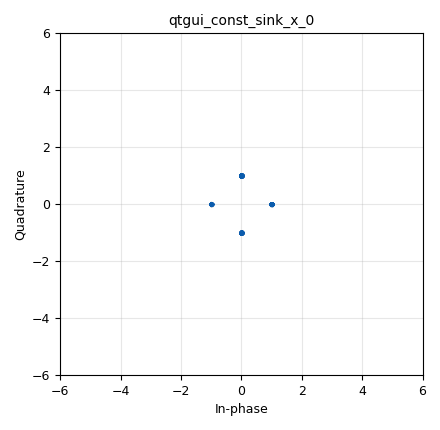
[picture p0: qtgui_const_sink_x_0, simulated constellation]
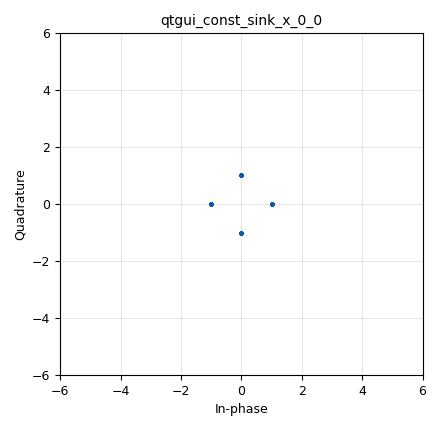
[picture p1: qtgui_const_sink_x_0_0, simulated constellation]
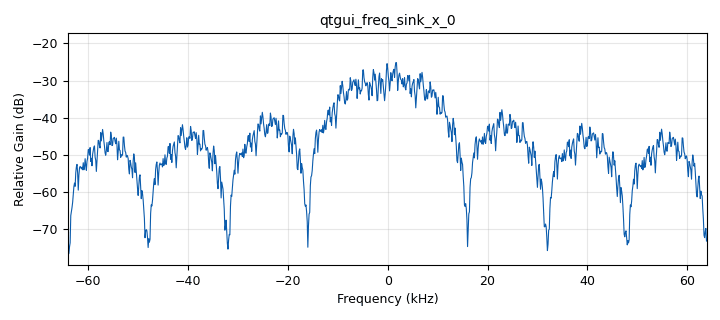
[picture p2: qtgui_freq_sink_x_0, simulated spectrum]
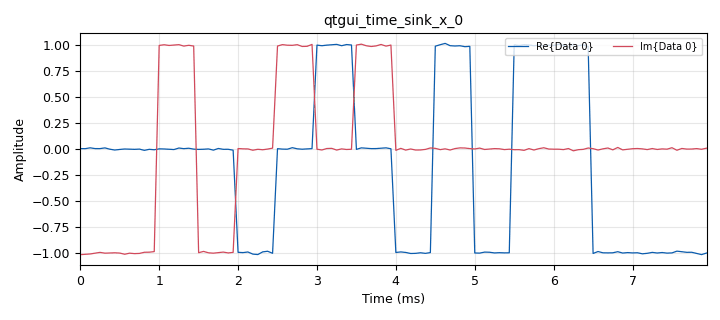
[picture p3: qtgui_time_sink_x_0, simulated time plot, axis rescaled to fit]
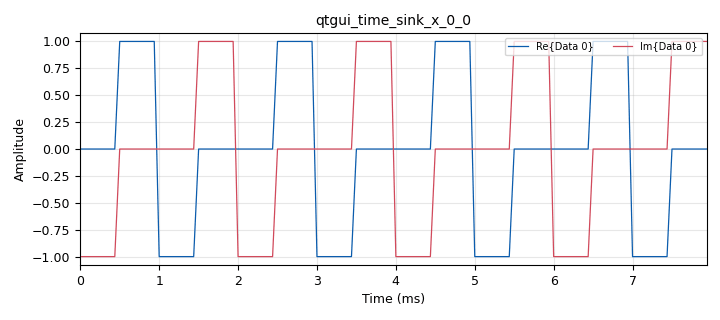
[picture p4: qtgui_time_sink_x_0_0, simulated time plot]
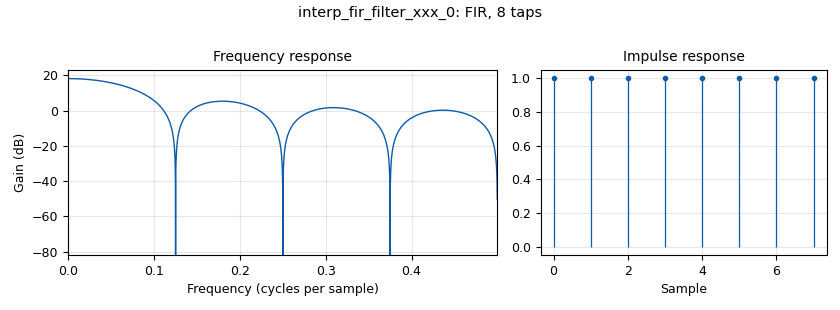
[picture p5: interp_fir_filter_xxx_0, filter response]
options:
  parameters:
    generate_options: qt_gui
    id: ModulacionPropia
    output_language: python
    title: Not titled yet
  states: {}

blocks:
- name: M
  id: variable
  parameters:
    value: '4'
  states: {}
- name: Nbps
  id: variable
  parameters:
    value: int(math.log(M,2))
  states: {}
- name: Rb
  id: variable
  parameters:
    value: '32000'
  states: {}
- name: Rs
  id: variable
  parameters:
    value: Rb/Nbps
  states: {}
- name: Samp_rate
  id: variable
  parameters:
    value: Rs*Sps
  states: {}
- name: Sps
  id: variable
  parameters:
    value: len(h)
  states: {}
- name: h
  id: variable
  parameters:
    value: '[1,1,1,1,1,1,1,1]'
  states: {}
- name: analog_const_source_x_0
  id: analog_const_source_x
  parameters:
    const: '1'
    type: float
  states: {}
- name: analog_noise_source_x_0
  id: analog_noise_source_x
  parameters:
    amp: '0.01'
    noise_type: analog.GR_GAUSSIAN
    seed: '0'
    type: complex
  states: {}
- name: analog_random_source_x_0
  id: analog_random_source_x
  parameters:
    max: '2'
    min: '0'
    num_samps: '1000'
    repeat: 'True'
    type: byte
  states: {}
- name: blocks_add_const_vxx_0
  id: blocks_add_const_vxx
  parameters:
    const: '0'
    type: float
  states: {}
- name: blocks_add_xx_0
  id: blocks_add_xx
  parameters:
    type: complex
  states: {}
- name: blocks_char_to_float_0
  id: blocks_char_to_float
  parameters:
    scale: '1'
  states: {}
- name: blocks_multiply_const_vxx_0
  id: blocks_multiply_const_vxx
  parameters:
    const: 2*math.pi/M
    type: float
  states: {}
- name: blocks_pack_k_bits_bb_0
  id: blocks_pack_k_bits_bb
  parameters:
    k: '2'
  states: {}
- name: blocks_repack_bits_bb_0
  id: blocks_repack_bits_bb
  parameters:
    endianness: gr.GR_LSB_FIRST
    k: '1'
    l: Nbps
  states: {}
- name: blocks_vector_source_x_0
  id: blocks_vector_source_x
  parameters:
    repeat: 'True'
    type: byte
    vector: (1,1,0,0,1,0,0,1)
  states: {}
- name: epy_block_0
  id: epy_block
  parameters:
    _source_code: "\nimport numpy as np\nfrom gnuradio import gr\n\n\nclass blk(gr.sync_block):  # other base classes are basic_block, decim_block, interp_block\n    \"\"\"Embedded Python Block example - a simple multiply const\"\"\"\n\n    def __init__(self, example_param=1.0):  # only default arguments here\n        \"\"\"arguments to this function show up as parameters in GRC\"\"\"\n        gr.sync_block.__init__(\n            self,\n            name='VCO complex',   # will show up in GRC\n            in_sig=[np.float32, np.float32],\n            out_sig=[np.complex64]\n        )\n        # if an attribute with the same name as a parameter is found,\n        # a callback is registered (properties work, too).\n        self.example_param = example_param\n\n    def work(self, input_items, output_items):\n        Q=input_items[0]\n        A=input_items[1]\n        sec=output_items[0]\n        sec[:] = A*np.exp(1.j*Q)\n        return len(sec)\n"
    example_param: '1.0'
  states: {}
- name: epy_block_1
  id: epy_block
  parameters:
    _source_code: "import numpy as np\nfrom gnuradio import gr\n\nclass QPSKModulator(gr.sync_block):\n\n    def __init__(self):\n        gr.sync_block.__init__(\n            self,\n            name='QPSK Modulator',\n            in_sig=[np.int8],\n            out_sig=[np.complex64]\n        )\n\n    def work(self, input_items, output_items):\n        input_data = input_items[0]\n        output_data = output_items[0]\n\n        # Mapear los valores de input_data a simbolos QPSK\n        constelation = {\n            0: 1 + 0j,\n            1: 0 + 1j,\n            2: -1 + 0j,\n            3: 0 - 1j\n        }\n\n        for i in range(len(input_data)):\n            symbol = constelation.get(input_data[i], 0)\n            output_data[i] = symbol\n\n        return len(input_data)\n\n"
  states: {}
- name: import_0
  id: import
  parameters:
    imports: import math
  states: {}
- name: interp_fir_filter_xxx_0
  id: interp_fir_filter_xxx
  parameters:
    interp: Sps
    taps: h
    type: ccc
  states: {}
- name: interp_fir_filter_xxx_0_0
  id: interp_fir_filter_xxx
  parameters:
    interp: Sps
    taps: h
    type: ccc
  states: {}
- name: qtgui_const_sink_x_0
  id: qtgui_const_sink_x
  parameters:
    size: '1024'
    type: complex
    xmax: '6'
    xmin: '-6'
    ymax: '6'
    ymin: '-6'
  states: {}
- name: qtgui_const_sink_x_0_0
  id: qtgui_const_sink_x
  parameters:
    size: '1024'
    type: complex
    xmax: '6'
    xmin: '-6'
    ymax: '6'
    ymin: '-6'
  states: {}
- name: qtgui_freq_sink_x_0
  id: qtgui_freq_sink_x
  parameters:
    autoscale: 'True'
    average: '0.05'
    bw: Samp_rate
    fc: '0'
    fftsize: '1024'
    type: complex
  states: {}
- name: qtgui_time_sink_x_0
  id: qtgui_time_sink_x
  parameters:
    color1: red
    color2: green
    grid: 'True'
    size: 32*Sps//Nbps
    srate: Rs
    style2: '2'
    type: complex
  states: {}
- name: qtgui_time_sink_x_0_0
  id: qtgui_time_sink_x
  parameters:
    color1: red
    color2: green
    grid: 'True'
    size: 32*Sps//Nbps
    srate: Rs
    style2: '2'
    type: complex
  states: {}

connections:
- [analog_const_source_x_0, '0', epy_block_0, '1']
- [analog_noise_source_x_0, '0', blocks_add_xx_0, '0']
- [analog_random_source_x_0, '0', blocks_repack_bits_bb_0, '0']
- [blocks_add_const_vxx_0, '0', epy_block_0, '0']
- [blocks_add_xx_0, '0', qtgui_const_sink_x_0, '0']
- [blocks_add_xx_0, '0', qtgui_freq_sink_x_0, '0']
- [blocks_add_xx_0, '0', qtgui_time_sink_x_0, '0']
- [blocks_char_to_float_0, '0', blocks_multiply_const_vxx_0, '0']
- [blocks_multiply_const_vxx_0, '0', blocks_add_const_vxx_0, '0']
- [blocks_pack_k_bits_bb_0, '0', epy_block_1, '0']
- [blocks_repack_bits_bb_0, '0', blocks_char_to_float_0, '0']
- [blocks_vector_source_x_0, '0', blocks_pack_k_bits_bb_0, '0']
- [epy_block_0, '0', interp_fir_filter_xxx_0, '0']
- [epy_block_1, '0', interp_fir_filter_xxx_0_0, '0']
- [interp_fir_filter_xxx_0, '0', blocks_add_xx_0, '1']
- [interp_fir_filter_xxx_0_0, '0', qtgui_const_sink_x_0_0, '0']
- [interp_fir_filter_xxx_0_0, '0', qtgui_time_sink_x_0_0, '0']

metadata:
  file_format: 1
